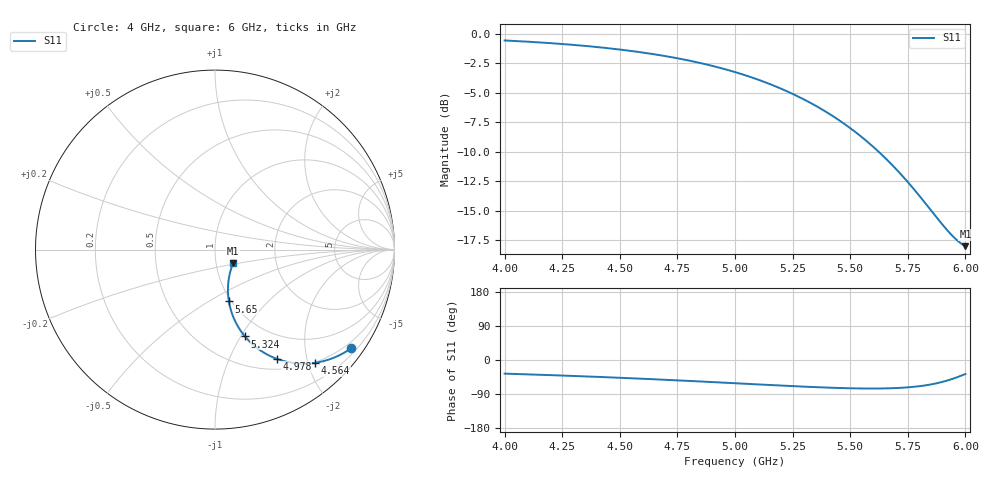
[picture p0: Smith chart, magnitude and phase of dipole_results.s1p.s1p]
! TOUCHSTONE file generated by CST MICROWAVE STUDIO
! Date and time: Sun Jan 11 17:50:07 2026
! Project name: Untitled_0.cst
! Header version: 2024
! Port assignment regex: !\s*Touchstone port\s*([0-9]+)\s*=\s*(CST MWS port|CST DES external port|CST DES block port)\s*(.+)\s* \(\"(.*)\"\)(\s*mode\s*([0-9]+))?.*
! Touchstone port assignment:
! Touchstone port 1 = CST MWS port 1 ("")
# GHz S MA R 50
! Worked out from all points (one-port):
!   1001 points, 4 GHz to 6 GHz, reference 50 ohm
!   lowest |S11| = -18.0 dB at 6 GHz (marker M1), VSWR 1.29, Z = 60.4 - j9.29 ohm
!   |S11| at or under -10 dB: 5.624 GHz to end of sweep
!   S11 on the Smith chart (normalised r, x): 4 GHz: 0.34, -3.05; 4.564 GHz: 0.49, -2.12; 4.978 GHz: 0.64, -1.52; 5.324 GHz: 0.80, -1.04; 5.65 GHz: 0.97, -0.62; 6 GHz: 1.21, -0.19
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4  0.9365 -36.0
4.118  0.9231 -38.2
4.25  0.9047 -41.0
4.376  0.883 -43.9
4.5  0.8571 -46.9
4.564  0.8416 -48.5
4.66  0.8153 -51.1
4.75  0.7871 -53.7
4.866  0.7451 -57.1
4.978  0.698 -60.6
5  0.688 -61.3
5.062  0.6583 -63.2
5.124  0.6267 -65.1
5.186  0.593 -67.0
5.25  0.5563 -68.9
5.324  0.5117 -71.0
5.414  0.4547 -73.1
5.5  0.3984 -74.6
5.576  0.3478 -75.3
5.65  0.2989 -75.0
5.7  0.2667 -74.0
5.75  0.2355 -72.2
5.836  0.1862 -66.0
5.894  0.1582 -58.7
5.928  0.1446 -53.0
5.968  0.1324 -44.6
5.988  0.128 -39.9
6  0.1259 -36.9
